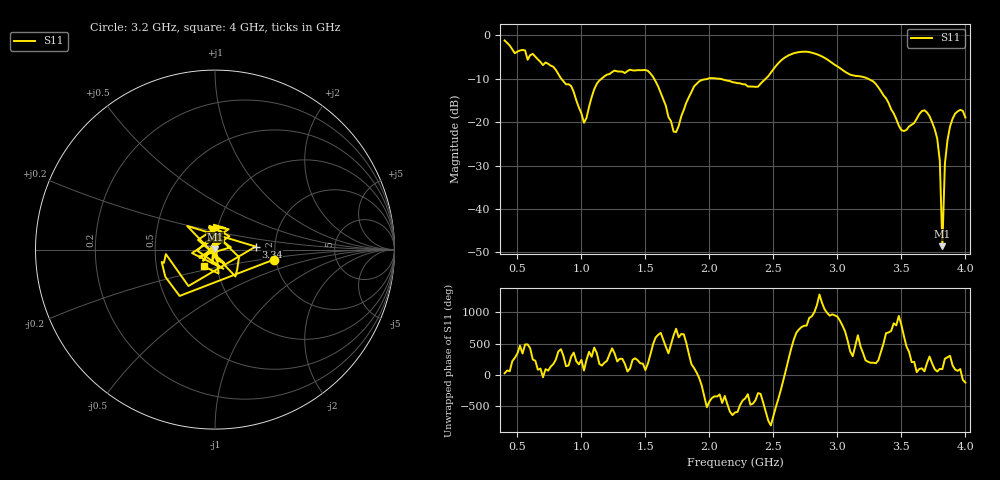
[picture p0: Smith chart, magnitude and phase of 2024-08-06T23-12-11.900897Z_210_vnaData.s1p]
!Created with skrf (http://scikit-rf.org).
# Hz S RI R 50.0
!freq ReS11 ImS11
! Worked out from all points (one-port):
!   181 points, 400 MHz to 4 GHz, reference 50 ohm
!   lowest |S11| = -48.6 dB at 3.82 GHz (marker M1), VSWR 1.01, Z = 50 + j0.373 ohm
!   |S11| at or under -10 dB: 1.568 GHz to 1.989 GHz (421.2 MHz wide, 23.7 % of centre); 2.07 GHz to 2.441 GHz (370.8 MHz wide, 16.4 % of centre); 3.239 GHz to end of sweep (the widest 3 of 4)
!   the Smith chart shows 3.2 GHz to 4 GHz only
!   S11 on the Smith chart (normalised r, x): 3.2 GHz: 1.95, -0.25; 3.34 GHz: 1.59, +0.06; 4 GHz: 0.87, -0.16
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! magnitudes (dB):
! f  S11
! 400 MHz  -1.2
! 860 MHz  -10.6
! 920 MHz  -11.7
! 1.02 GHz  -20.1
! 1.12 GHz  -11.2
! 1.3 GHz  -8.4
! 1.52 GHz  -8.2
! 1.6 GHz  -11.8
! 1.72 GHz  -22.2
! 1.76 GHz  -20.9
! 1.92 GHz  -10.6
! 2.2 GHz  -10.9
! 2.38 GHz  -11.8
! 2.66 GHz  -4.1
! 2.84 GHz  -4.4
! 3.1 GHz  -9.1
! 3.2 GHz  -9.6
! 3.34 GHz  -12.9
! 3.5 GHz  -21.8
! 3.56 GHz  -21.0
! 3.68 GHz  -17.3
! 3.76 GHz  -21.6
! 3.8 GHz  -28.8
! 3.82 GHz  -48.6
! 3.84 GHz  -29.5
! 3.86 GHz  -24.2
! 3.92 GHz  -18.0
! 4 GHz  -18.9
